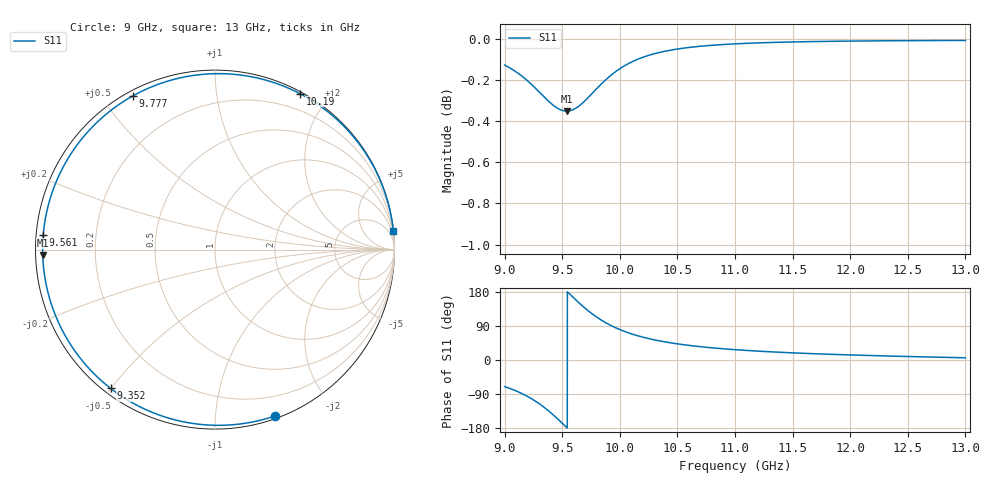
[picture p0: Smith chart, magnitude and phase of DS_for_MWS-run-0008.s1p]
! TOUCHSTONE file generated by CST DESIGN STUDIO
! Date and time: Tue Feb  4 17:46:22 2025
! Project name: C:\Work\MatlabApps\UnitCellOptimizationMatlab\CST\unitcell.cst
! Tree item: Tasks\Sweep1\SPara1\S-Parameters
! Header version: 2024
! Port assignment regex: !\s*Touchstone port\s*([0-9]+)\s*=\s*(CST MWS port|CST DES external port|CST DES block port)\s*(.+)\s* \(\"(.*)\"\)(\s*mode\s*([0-9]+))?.*
! Touchstone port assignment:
! Touchstone port 1 = CST DES external port 1 ("")
# GHz S MA R 50
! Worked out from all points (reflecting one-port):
!   4001 points, 9 GHz to 13 GHz, reference 50 ohm
!   lowest |S11| = -0.4 dB at 9.539 GHz (marker M1), VSWR 49.49, Z = 1.01 - j0.773 ohm
!   phase of S11 starts at -70 deg and turns -284 deg over the sweep
!   S11 on the Smith chart (normalised r, x): 9 GHz: 0.02, -1.42; 9.352 GHz: 0.02, -0.50; 9.561 GHz: 0.02, +0.04; 9.777 GHz: 0.02, +0.60; 10.19 GHz: 0.02, +1.68; 13 GHz: 0, +20
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9  0.9854 -70.2
9.099  0.9817 -81.5
9.208  0.9763 -97.7
9.284  0.9718 -111.9
9.352  0.9675 -126.9
9.423  0.9635 -145.0
9.463  0.9618 -156.1
9.5  0.9608 -166.7
9.539  0.9604 -178.2
9.561  0.9605 175.3
9.615  0.9618 159.5
9.676  0.9647 142.6
9.726  0.9677 129.8
9.777  0.971 118.0
9.825  0.9742 108.0
9.876  0.9772 98.7
9.933  0.9803 89.5
10  0.9834 80.3
10.089  0.9867 70.2
10.185  0.9894 61.4
10.329  0.9922 51.4
10.5  0.9943 42.6
10.721  0.996 34.5
11  0.9972 27.3
11.5  0.9983 18.8
12  0.9988 13.3
12.5  0.999 9.2
13  0.9991 5.8
